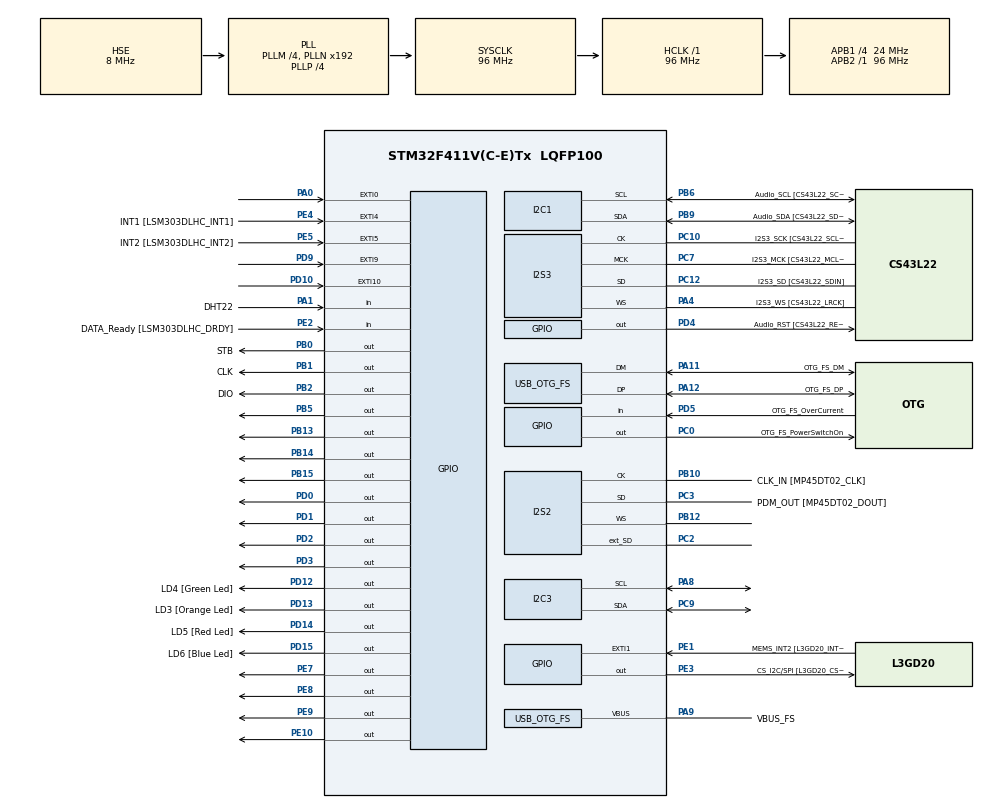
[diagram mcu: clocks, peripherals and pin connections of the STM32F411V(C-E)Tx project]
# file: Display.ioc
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I2S2.AudioFreq=I2S_AUDIOFREQ_96K
I2S2.ErrorAudioFreq=0.15 %
I2S2.FullDuplexMode=I2S_FULLDUPLEXMODE_ENABLE
I2S2.Instance=SPI$Index
I2S2.RealAudioFreq=96.153 KHz
I2S2.VirtualMode=I2S_MODE_MASTER
I2S3.AudioFreq=I2S_AUDIOFREQ_96K
I2S3.ErrorAudioFreq=-6.99 %
I2S3.FullDuplexMode=I2S_FULLDUPLEXMODE_DISABLE
I2S3.Instance=SPI$Index
I2S3.RealAudioFreq=89.285 KHz
I2S3.VirtualMode=I2S_MODE_MASTER
Mcu.Family=STM32F4
Mcu.Name=STM32F411V(C-E)Tx
Mcu.Package=LQFP100
NVIC.EXTI15_10_IRQn=true\:0\:0\:false\:false\:true\:true\:true\:true
NVIC.EXTI9_5_IRQn=true\:0\:0\:false\:false\:true\:true\:true\:true
NVIC.OTG_FS_IRQn=true\:0\:0\:false\:false\:true\:true\:true\:true
NVIC.PriorityGroup=NVIC_PRIORITYGROUP_0
NVIC.TIM1_UP_TIM10_IRQn=true\:0\:0\:false\:false\:true\:true\:true\:true
NVIC.TIM2_IRQn=true\:0\:0\:false\:false\:true\:true\:true\:true
PA0-WKUP.GPIO_ModeDefaultEXTI=GPIO_MODE_EVT_RISING
PA0-WKUP.Signal=GPXTI0
PA1.GPIO_Label=DHT22
PA1.Signal=GPIO_Input
PA10.GPIO_Label=OTG_FS_ID
PA10.Signal=USB_OTG_FS_ID
PA11.GPIO_Label=OTG_FS_DM
PA11.Mode=Host_Only
PA11.Signal=USB_OTG_FS_DM
PA12.GPIO_Label=OTG_FS_DP
PA12.Mode=Host_Only
PA12.Signal=USB_OTG_FS_DP
PA13.GPIO_Label=SWDIO
PA13.Mode=Serial_Wire
PA13.Signal=SYS_JTMS-SWDIO
PA14.GPIO_Label=SWCLK
PA14.Mode=Serial_Wire
PA14.Signal=SYS_JTCK-SWCLK
PA4.GPIO_Label=I2S3_WS [CS43L22_LRCK]
PA4.GPIO_Mode=GPIO_MODE_AF_PP
PA4.GPIO_PuPd=GPIO_NOPULL
PA4.GPIO_Speed=GPIO_SPEED_FREQ_LOW
PA4.Mode=Half_Duplex_Master
PA4.Signal=I2S3_WS
PA5.GPIO_Label=SPI1_SCK [L3GD20_SC/SPC]
PA5.Signal=SPI1_SCK
PA6.GPIO_Label=SPI1_MISO [L3GD20_AS0/SDO]
PA6.Signal=SPI1_MISO
PA7.GPIO_Label=SPI1_MOSI [L3GD20_SDA/SDI/SDO]
PA7.Signal=SPI1_MOSI
PA8.Mode=I2C
PA8.Signal=I2C3_SCL
PA9.GPIO_Label=VBUS_FS
PA9.Mode=Activate_VBUS
PA9.Signal=USB_OTG_FS_VBUS
PB0.GPIO_Label=STB
PB0.Signal=GPIO_Output
PB1.GPIO_Label=CLK
PB1.Signal=GPIO_Output
PB10.GPIO_Label=CLK_IN [MP45DT02_CLK]
PB10.Mode=Full_Duplex_Master
PB10.Signal=I2S2_CK
PB12.Mode=Full_Duplex_Master
PB12.Signal=I2S2_WS
PB13.Signal=GPIO_Output
PB14.Signal=GPIO_Output
PB15.Signal=GPIO_Output
PB2.GPIO_Label=DIO
PB2.Signal=GPIO_Output
PB3.GPIO_Label=SWO
PB3.Signal=SYS_JTDO-SWO
PB5.Signal=GPIO_Output
PB6.GPIO_Label=Audio_SCL [CS43L22_SCL]
PB6.GPIO_Mode=GPIO_MODE_AF_OD
PB6.GPIO_Pu=GPIO_PULLUP
PB6.GPIO_PuPd=GPIO_NOPULL
PB6.GPIO_Speed=GPIO_SPEED_FREQ_LOW
PB6.Mode=I2C
PB6.Signal=I2C1_SCL
PB9.GPIO_Label=Audio_SDA [CS43L22_SDA]
PB9.GPIO_Mode=GPIO_MODE_AF_OD
PB9.GPIO_Pu=GPIO_PULLUP
PB9.GPIO_PuPd=GPIO_NOPULL
PB9.GPIO_Speed=GPIO_SPEED_FREQ_LOW
PB9.Mode=I2C
PB9.Signal=I2C1_SDA
PC0.GPIO_Label=OTG_FS_PowerSwitchOn
PC0.PinState=GPIO_PIN_SET
PC0.Signal=GPIO_Output
PC10.GPIO_Label=I2S3_SCK [CS43L22_SCLK]
PC10.GPIO_Mode=GPIO_MODE_AF_PP
PC10.GPIO_PuPd=GPIO_NOPULL
PC10.GPIO_Speed=GPIO_SPEED_FREQ_LOW
PC10.Mode=Half_Duplex_Master
PC10.Signal=I2S3_CK
PC12.GPIO_Label=I2S3_SD [CS43L22_SDIN]
PC12.GPIO_Mode=GPIO_MODE_AF_PP
PC12.GPIO_PuPd=GPIO_NOPULL
PC12.GPIO_Speed=GPIO_SPEED_FREQ_LOW
PC12.Mode=Half_Duplex_Master
PC12.Signal=I2S3_SD
PC14-OSC32_IN.GPIO_Label=PC14-OSC32_IN
PC14-OSC32_IN.Mode=LSE-External-Oscillator
PC14-OSC32_IN.Signal=RCC_OSC32_IN
PC15-OSC32_OUT.GPIO_Label=PC15-OSC32_OUT
PC15-OSC32_OUT.Mode=LSE-External-Oscillator
PC15-OSC32_OUT.Signal=RCC_OSC32_OUT
PC2.Mode=Full_Duplex_Master
PC2.Signal=I2S2_ext_SD
PC3.GPIO_Label=PDM_OUT [MP45DT02_DOUT]
PC3.Mode=Full_Duplex_Master
PC3.Signal=I2S2_SD
PC7.GPIO_Label=I2S3_MCK [CS43L22_MCLK]
PC7.GPIO_Mode=GPIO_MODE_AF_PP
PC7.GPIO_PuPd=GPIO_NOPULL
PC7.GPIO_Speed=GPIO_SPEED_FREQ_LOW
PC7.Mode=Master_Clock_Activated
PC7.Signal=I2S3_MCK
PC9.Mode=I2C
PC9.Signal=I2C3_SDA
PD0.Signal=GPIO_Output
PD1.Signal=GPIO_Output
PD10.Signal=GPXTI10
PD12.GPIO_Label=LD4 [Green Led]
PD12.GPIO_PuPd=GPIO_NOPULL
PD12.GPIO_Speed=GPIO_SPEED_FREQ_LOW
PD12.Signal=GPIO_Output
PD13.GPIO_Label=LD3 [Orange Led]
PD13.GPIO_PuPd=GPIO_NOPULL
PD13.GPIO_Speed=GPIO_SPEED_FREQ_LOW
PD13.Signal=GPIO_Output
PD14.GPIO_Label=LD5 [Red Led]
PD14.GPIO_PuPd=GPIO_NOPULL
PD14.GPIO_Speed=GPIO_SPEED_FREQ_LOW
PD14.Signal=GPIO_Output
PD15.GPIO_Label=LD6 [Blue Led]
PD15.GPIO_PuPd=GPIO_NOPULL
PD15.GPIO_Speed=GPIO_SPEED_FREQ_LOW
PD15.Signal=GPIO_Output
PD2.Signal=GPIO_Output
PD3.Signal=GPIO_Output
PD4.GPIO_Label=Audio_RST [CS43L22_RESET]
PD4.Signal=GPIO_Output
PD5.GPIO_Label=OTG_FS_OverCurrent
PD5.Signal=GPIO_Input
PD9.GPIO_ModeDefaultEXTI=GPIO_MODE_IT_FALLING
PD9.Signal=GPXTI9
PE1.GPIO_Label=MEMS_INT2 [L3GD20_INT2]
PE1.GPIO_ModeDefaultEXTI=GPIO_MODE_EVT_RISING
PE1.Signal=GPXTI1
PE10.Signal=GPIO_Output
PE2.GPIO_Label=DATA_Ready [LSM303DLHC_DRDY]
PE2.Signal=GPIO_Input
PE3.GPIO_Label=CS_I2C/SPI [L3GD20_CS_I2C/SPI]
PE3.Signal=GPIO_Output
PE4.GPIO_Label=INT1 [LSM303DLHC_INT1]
PE4.GPIO_ModeDefaultEXTI=GPIO_MODE_EVT_RISING
PE4.Signal=GPXTI4
PE5.GPIO_Label=INT2 [LSM303DLHC_INT2]
PE5.GPIO_ModeDefaultEXTI=GPIO_MODE_EVT_RISING
PE5.Signal=GPXTI5
PE7.Signal=GPIO_Output
PE8.Signal=GPIO_Output
PE9.Signal=GPIO_Output
PH0\ -\ OSC_IN.GPIO_Label=PH0-OSC_IN
PH0\ -\ OSC_IN.Mode=HSE-External-Oscillator
PH0\ -\ OSC_IN.Signal=RCC_OSC_IN
PH1\ -\ OSC_OUT.GPIO_Label=PH1-OSC_OUT
PH1\ -\ OSC_OUT.Mode=HSE-External-Oscillator
PH1\ -\ OSC_OUT.Signal=RCC_OSC_OUT
ProjectManager.HeapSize=0x200
ProjectManager.StackSize=0x400
ProjectManager.TargetToolchain=STM32CubeIDE
RCC.48MHZClocksFreq_Value=48000000
RCC.AHBFreq_Value=96000000
RCC.APB1CLKDivider=RCC_HCLK_DIV4
RCC.APB1Freq_Value=24000000
RCC.APB1TimFreq_Value=48000000
RCC.APB2Freq_Value=96000000
RCC.APB2TimFreq_Value=96000000
RCC.CortexFreq_Value=96000000
RCC.HCLKFreq_Value=96000000
RCC.HSE_VALUE=8000000
RCC.HSI_VALUE=16000000
RCC.PLLI2SM=5
RCC.PLLI2SN=200
RCC.PLLM=4
RCC.PLLP=RCC_PLLP_DIV4
RCC.PLLQ=8
RCC.SYSCLKFreq_VALUE=96000000
RCC.SYSCLKSource=RCC_SYSCLKSOURCE_PLLCLK
RCC.VCOOutputFreq_Value=384000000
TIM1.Prescaler=95
TIM10.Period=1200
TIM10.Prescaler=9599
TIM11.Period=0xffff-1
TIM11.Prescaler=95
TIM2.Period=250
TIM2.Prescaler=9599
TIM4.Period=100
TIM4.Prescaler=9599
USB_HOST.BSP.number=1
USB_HOST.USBH_HandleTypeDef=hUsbHostFS
USB_HOST.VirtualModeFS=Cdc
USB_HOST0.BSP.STBoard=false
USB_HOST0.BSP.api=Unknown
USB_HOST0.BSP.instance=PC0
USB_HOST0.BSP.ip=GPIO
USB_HOST0.BSP.mode=Output
USB_HOST0.BSP.name=Drive_VBUS_FS
USB_HOST0.BSP.solution=PC0
USB_OTG_FS.VirtualMode=Host_Only
USB_OTG_FS.phy_itface=HCD_PHY_EMBEDDED
VP_TIM10_VS_ClockSourceINT.Mode=Enable_Timer
VP_TIM11_VS_ClockSourceINT.Mode=Enable_Timer
VP_TIM1_VS_ClockSourceINT.Mode=Internal
VP_TIM2_VS_ClockSourceINT.Mode=Internal
VP_TIM4_VS_ClockSourceINT.Mode=Internal
VP_USB_HOST_VS_USB_HOST_CDC_FS.Mode=CDC_FS
board=STM32F411E-DISCO

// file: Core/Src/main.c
/* USER CODE BEGIN Header */
/**
  ******************************************************************************
  * @file           : main.c
  * @brief          : Main program body
  ******************************************************************************
  * @attention
  *
  * Copyright (c) 2023 STMicroelectronics.
  * All rights reserved.
  *
  * This software is licensed under terms that can be found in the LICENSE file
  * in the root directory of this software component.
  * If no LICENSE file comes with this software, it is provided AS-IS.
  *
  ******************************************************************************
  */
/* USER CODE END Header */
#include "main.h"
#include "usb_host.h"

/* USER CODE BEGIN Includes */
#include "stdbool.h"
/* USER CODE END Includes */

I2C_HandleTypeDef hi2c1;
I2C_HandleTypeDef hi2c3;

I2S_HandleTypeDef hi2s2;
I2S_HandleTypeDef hi2s3;

TIM_HandleTypeDef htim1;
TIM_HandleTypeDef htim2;
TIM_HandleTypeDef htim4;
TIM_HandleTypeDef htim10;
TIM_HandleTypeDef htim11;

void SystemClock_Config(void);
void PeriphCommonClock_Config(void);
static void MX_GPIO_Init(void);
static void MX_I2C1_Init(void);
static void MX_I2S2_Init(void);
static void MX_I2S3_Init(void);
static void MX_I2C3_Init(void);
static void MX_TIM10_Init(void);
static void MX_TIM1_Init(void);
static void MX_TIM2_Init(void);
static void MX_TIM11_Init(void);
static void MX_TIM4_Init(void);
void MX_USB_HOST_Process(void);

/* USER CODE BEGIN PFP */

uint16_t pins_lamps[] = {GPIO_PIN_0, GPIO_PIN_1, GPIO_PIN_2, GPIO_PIN_3}; //LAMP HOUR 2-nd, LAMP HOUR 1-st, LAMP MINUTE 2-nd, LAMP MINUTE 1-st
uint16_t pins_controls[] = {GPIO_PIN_7, GPIO_PIN_8, GPIO_PIN_9, GPIO_PIN_10}; //CONTROL for K155id {A, B, C, D}
int controls[4][4];  //bin code for lamps and its control
bool state_ex = true;

//STATE FOR setting and working of lamp
typedef enum state_time {
 SETTING,
 WORKING,
} state_t;
volatile state_t state = WORKING;

//variable for setting clock
int MINUTE = 0;
int HOUR = 0;

/* USER CODE END PFP */

/* USER CODE BEGIN 0 */
//LCD5110_display lcd1; //Define LCD_DISPLAY

//convert decimal to bin to control lamp
void decimal_to_binary(int number, int *binary_value)
{
	int temp = number;
	for(int i = 0; i < 4; i++)
	{
		binary_value[i] = temp % 2;
		temp = temp / 2;
	}
}
//***********************DS3231-RTC MODULE***********************
#define DS3231_ADDRESS 0xD0 //define DS3231

// Convert normal decimal numbers to binary coded decimal
uint8_t decToBcd(int val)
{
  return (uint8_t)( (val/10*16) + (val%10) );
}

// Convert binary coded decimal to normal decimal numbers
int bcdToDec(uint8_t val)
{
  return (int)( (val/16*10) + (val%16) );
}

//structure for time
typedef struct {
	uint8_t seconds;
	uint8_t minutes;
	uint8_t hour;
	uint8_t dayofweek;
	uint8_t dayofmonth;
	uint8_t month;
	uint8_t year;

}	TIME;
TIME time;

void Set_Time (uint8_t sec, uint8_t min, uint8_t hour, uint8_t dow, uint8_t dom, uint8_t month, uint8_t year)
{
	uint8_t set_time[7];
	set_time[0] = decToBcd(sec);
	set_time[1] = decToBcd(min);
	set_time[2] = decToBcd(hour);
	set_time[3] = decToBcd(dow);
	set_time[4] = decToBcd(dom);
	set_time[5] = decToBcd(month);
	set_time[6] = decToBcd(year);

	HAL_I2C_Mem_Write(&hi2c3, DS3231_ADDRESS, 0x00, 1, set_time, 7, 1000);
}

void Get_Time (void)
{
	uint8_t get_time[7];
	HAL_I2C_Mem_Read(&hi2c3, DS3231_ADDRESS, 0x00, 1, get_time, 7, 1000);
	time.seconds = bcdToDec(get_time[0]);
	time.minutes = bcdToDec(get_time[1]);
	time.hour = bcdToDec(get_time[2]);
	time.dayofweek = bcdToDec(get_time[3]);
	time.dayofmonth = bcdToDec(get_time[4]);
	time.month = bcdToDec(get_time[5]);
	time.year = bcdToDec(get_time[6]);
}
//*************************************************************************

//***************** Display TM_1638 ***********************//

GPIO_TypeDef* port = GPIOB;
int CLK_PIN = GPIO_PIN_1;
int DIO_PIN = GPIO_PIN_2;
int STB_PIN = GPIO_PIN_0;

const uint8_t SegmCodes[18] =
{
  0x3F, // 0
  0x06, // 1
  0x5B, // 2
  0x4F, // 3
  0x66, // 4
  0x6D, // 5
  0x7D, // 6
  0x07, // 7
  0x7F, // 8
  0x6F, // 9
  0x77, // A
  0x7c, // b
  0x39, // C
  0x5E, // d
  0x79, // E
  0x71,  // F
  //!!!! not hex
  0x38,// L - 10
  0x76 // H - 11
};

void shift_out(GPIO_TypeDef* port, int CLK_PIN,
    int DIO_PIN, bool dir, uint8_t command){
    for (int i = 0; i < 8; i++)
    {
        bool output = false;
        if (dir)
        {
            output = command & 0b10000000;
            command = command << 1;
        }
        else
        {
            output = command & 0b00000001;
            command = command >> 1;
        }
        HAL_GPIO_WritePin(port, DIO_PIN, output);
        HAL_GPIO_WritePin(port, CLK_PIN, 1);
        HAL_GPIO_WritePin(port, CLK_PIN, 0);
    }
  }

  void send_command(uint8_t bt){
    HAL_GPIO_WritePin(port, STB_PIN, 0);
    shift_out(port, CLK_PIN,  DIO_PIN, false, bt);
    HAL_GPIO_WritePin(port, STB_PIN, 1);
  }

  void send_args(uint8_t bt){
    shift_out(port, CLK_PIN,  DIO_PIN, false, bt);
  }

  void reset_TM(){
    send_command(0x40);
    HAL_GPIO_WritePin(port, STB_PIN, 0);
    send_args(0xc0);
    for (uint8_t i = 0; i < 16; i++){
         send_args(0x00);
       }
    HAL_GPIO_WritePin(port, STB_PIN, 1);
  }

  void print_zero(){
	  send_command(0x40);
	  HAL_GPIO_WritePin(port, STB_PIN, 0);
	  for(int i = 0; i < 8; i++)
	  {
		  send_args(SegmCodes[0]);
	  }
	  HAL_GPIO_WritePin(port, STB_PIN, 1);
  }

  void print_ones(){
	  send_command(0x40);
	  HAL_GPIO_WritePin(port, STB_PIN, 0);
	  for(int i = 0; i < 8; i++)
	  {
		  send_args(SegmCodes[1]);
	  }
	  HAL_GPIO_WritePin(port, STB_PIN, 1);
  }

  void print_temp(int temp){
      send_command(0x40);
      HAL_GPIO_WritePin(port, STB_Pin, 0);
      send_args(0xc0);
      send_args(SegmCodes[temp/10]);
      send_args(0x00);
      send_args(SegmCodes[temp%10]);
      send_args(0x00);
      send_args(99);
      send_args(0x00);
      send_args(SegmCodes[0x0C]);
      HAL_GPIO_WritePin(port, STB_Pin, 1);
    }

  void print_hum(int hum){
	  	send_command(0x40);
		HAL_GPIO_WritePin(port, STB_Pin, 0);
		send_args(0xca);
		send_args(SegmCodes[hum/10]);
		send_args(0x00);
		send_args(SegmCodes[hum%10]);
		send_args(0x00);
		send_args(SegmCodes[0x11]);
		HAL_GPIO_WritePin(port, STB_Pin, 1);
      }
  /*********************************** DHT22 FUNCTIONS ****************************************/

  #define DHT22_PORT GPIOA
  #define DHT22_PIN GPIO_PIN_1

  uint8_t Rh_byte1, Rh_byte2, Temp_byte1, Temp_byte2;
  uint16_t SUM, RH, TEMP;

  float Temperature = 0;
  float Humidity = 0;
  uint8_t Presence = 0;
  int check_temp = 0;

  void delay (uint16_t time)
  {
  	/* change your code here for the delay in microseconds */
  	__HAL_TIM_SET_COUNTER(&htim11, 0);
  	while ((__HAL_TIM_GET_COUNTER(&htim11))<time);
  }

  void Set_Pin_Output (GPIO_TypeDef *GPIOx, uint16_t GPIO_Pin)
  {
  	GPIO_InitTypeDef GPIO_InitStruct = {0};
  	GPIO_InitStruct.Pin = GPIO_Pin;
  	GPIO_InitStruct.Mode = GPIO_MODE_OUTPUT_PP;
  	GPIO_InitStruct.Speed = GPIO_SPEED_FREQ_LOW;
  	HAL_GPIO_Init(GPIOx, &GPIO_InitStruct);
  }

  void Set_Pin_Input (GPIO_TypeDef *GPIOx, uint16_t GPIO_Pin)
  {
  	GPIO_InitTypeDef GPIO_InitStruct = {0};
  	GPIO_InitStruct.Pin = GPIO_Pin;
  	GPIO_InitStruct.Mode = GPIO_MODE_INPUT;
  	GPIO_InitStruct.Pull = GPIO_PULLUP;
  	HAL_GPIO_Init(GPIOx, &GPIO_InitStruct);
  }

  void DHT22_Start (void)
  {
  	Set_Pin_Output(DHT22_PORT, DHT22_PIN); // set the pin as output
  	HAL_GPIO_WritePin (DHT22_PORT, DHT22_PIN, 0);   // pull the pin low
  	delay(1200);   // wait for > 1ms

  	HAL_GPIO_WritePin (DHT22_PORT, DHT22_PIN, 1);   // pull the pin high
  	delay (20);   // wait for 30us

  	Set_Pin_Input(DHT22_PORT, DHT22_PIN);   // set as input
  }

  uint8_t DHT22_Check_Response (void)
  {
  	Set_Pin_Input(DHT22_PORT, DHT22_PIN);   // set as input
  	uint8_t Response = 0;
  	delay (40);  // wait for 40us
  	if (!(HAL_GPIO_ReadPin (DHT22_PORT, DHT22_PIN))) // if the pin is low
  	{
  		delay (80);   // wait for 80us

  		if ((HAL_GPIO_ReadPin (DHT22_PORT, DHT22_PIN))) Response = 1;  // if the pin is high, response is ok
  		else Response = -1;
  	}

  	while ((HAL_GPIO_ReadPin (DHT22_PORT, DHT22_PIN))){
  	HAL_GPIO_TogglePin(GPIOD, GPIO_PIN_12);
  	}// wait for the pin to go low
  	return Response;
  }

  uint8_t DHT22_Read (void)
  {
  	uint8_t i,j;
  	for (j=0;j<8;j++)
  	{
  		while (!(HAL_GPIO_ReadPin (DHT22_PORT, DHT22_PIN)));
  		// wait for the pin to go high
  		delay (40);   // wait for 40 us

  		if (!(HAL_GPIO_ReadPin (DHT22_PORT, DHT22_PIN)))   // if the pin is low
  		{
  			i&= ~(1<<(7-j));   // write 0
  		}
  		else i|= (1<<(7-j));  // if the pin is high, write 1
  		delay (40);
//  		while ((HAL_GPIO_ReadPin (DHT22_PORT, DHT22_PIN))){
//  			HAL_GPIO_TogglePin(GPIOD, GPIO_PIN_13);// wait for the pin to go low
//  		}
  	}

  	return i;
  }

  void TH_read_write(){
  	  DHT22_Start();
  	  Presence = DHT22_Check_Response();
  	  Rh_byte1 = DHT22_Read ();
      Rh_byte2 = DHT22_Read ();
  	  Temp_byte1 = DHT22_Read ();
  	  Temp_byte2 = DHT22_Read ();
  	  SUM = DHT22_Read();

  	  TEMP = ((Temp_byte1<<8)|Temp_byte2);
  	  RH = ((Rh_byte1<<8)|Rh_byte2);

  	  Temperature = (float) (TEMP/10.0);
  	  Humidity = (float) (RH/10.0);
  }

/* USER CODE END 0 */

int main(void)
{

  /* MCU Configuration--------------------------------------------------------*/

  /* Reset of all peripherals, Initializes the Flash interface and the Systick. */
  HAL_Init();

  /* Configure the system clock */
  SystemClock_Config();

/* Configure the peripherals common clocks */
  PeriphCommonClock_Config();

  /* Initialize all configured peripherals */
  MX_GPIO_Init();
  MX_I2C1_Init();
  MX_I2S2_Init();
  MX_I2S3_Init();
  MX_USB_HOST_Init();
  MX_I2C3_Init();
  MX_TIM10_Init();
  MX_TIM1_Init();
  MX_TIM2_Init();
  MX_TIM11_Init();
  MX_TIM4_Init();
  /* USER CODE BEGIN 2 */

  //START DISPLAY TM1638

  HAL_TIM_Base_Start(&htim11);

  reset_TM();

//  Set_Time(10, 11, 17, 4, 21, 12, 23);
  /* USER CODE END 2 */

  /* Infinite loop */
  /* USER CODE BEGIN WHILE */
  HAL_Delay(1000);
  HAL_TIM_Base_Start_IT(&htim2);
  while (1)
  {

	if (check_temp % 500 == 0){
	HAL_Delay(1);
	TH_read_write();
	}
	  if (state == WORKING)
	  {
		  Get_Time();
		  int time_units[] = {time.hour / 10, time.hour % 10, time.minutes / 10, time.minutes % 10}; //take time from rtc module
		  for (int i = 0; i < 4; i++)
		  {
			  decimal_to_binary(time_units[i], controls[i]);
			  for(int j = 0; j < 4; j++)
			  {
				  HAL_GPIO_WritePin(GPIOE, pins_controls[j], controls[i][j]);
			  }
//			  delay(500);
			  HAL_GPIO_WritePin(GPIOD, pins_lamps[i], 1);
			  delay(4200);
			  HAL_GPIO_WritePin(GPIOD, pins_lamps[i], 0);
			  delay(600);
		  }

	  }
	  else
	  {
		  int time_units[] = {HOUR / 10, HOUR % 10, MINUTE / 10, MINUTE % 10}; //take time from setting
		  for (int i = 0; i < 4; i++)
		  	  {
			  decimal_to_binary(time_units[i], controls[i]);
			  for(int j = 0; j < 4; j++)
			  	  {
				  HAL_GPIO_WritePin(GPIOE, pins_controls[j], controls[i][j]);
			  	  }
//			  delay(50);
			  HAL_GPIO_WritePin(GPIOD, pins_lamps[i], 1);
			  delay(5000);
			  HAL_GPIO_WritePin(GPIOD, pins_lamps[i], 0);
			  delay(600);
		  	  }
	  }
	  check_temp++;
	  check_temp = check_temp % 500;
    /* USER CODE END WHILE */
    MX_USB_HOST_Process();

  }
}

void SystemClock_Config(void)
{
  RCC_OscInitTypeDef RCC_OscInitStruct = {0};
  RCC_ClkInitTypeDef RCC_ClkInitStruct = {0};

  /** Configure the main internal regulator output voltage
  */
  __HAL_RCC_PWR_CLK_ENABLE();
  __HAL_PWR_VOLTAGESCALING_CONFIG(PWR_REGULATOR_VOLTAGE_SCALE1);

  /** Initializes the RCC Oscillators according to the specified parameters
  * in the RCC_OscInitTypeDef structure.
  */
  RCC_OscInitStruct.OscillatorType = RCC_OSCILLATORTYPE_HSE;
  RCC_OscInitStruct.HSEState = RCC_HSE_ON;
  RCC_OscInitStruct.PLL.PLLState = RCC_PLL_ON;
  RCC_OscInitStruct.PLL.PLLSource = RCC_PLLSOURCE_HSE;
  RCC_OscInitStruct.PLL.PLLM = 4;
  RCC_OscInitStruct.PLL.PLLN = 192;
  RCC_OscInitStruct.PLL.PLLP = RCC_PLLP_DIV4;
  RCC_OscInitStruct.PLL.PLLQ = 8;
  if (HAL_RCC_OscConfig(&RCC_OscInitStruct) != HAL_OK)
  {
    Error_Handler();
  }

  /** Initializes the CPU, AHB and APB buses clocks
  */
  RCC_ClkInitStruct.ClockType = RCC_CLOCKTYPE_HCLK|RCC_CLOCKTYPE_SYSCLK
                              |RCC_CLOCKTYPE_PCLK1|RCC_CLOCKTYPE_PCLK2;
  RCC_ClkInitStruct.SYSCLKSource = RCC_SYSCLKSOURCE_PLLCLK;
  RCC_ClkInitStruct.AHBCLKDivider = RCC_SYSCLK_DIV1;
  RCC_ClkInitStruct.APB1CLKDivider = RCC_HCLK_DIV4;
  RCC_ClkInitStruct.APB2CLKDivider = RCC_HCLK_DIV1;

  if (HAL_RCC_ClockConfig(&RCC_ClkInitStruct, FLASH_LATENCY_3) != HAL_OK)
  {
    Error_Handler();
  }
}

void PeriphCommonClock_Config(void)
{
  RCC_PeriphCLKInitTypeDef PeriphClkInitStruct = {0};

  /** Initializes the peripherals clock
  */
  PeriphClkInitStruct.PeriphClockSelection = RCC_PERIPHCLK_I2S;
  PeriphClkInitStruct.PLLI2S.PLLI2SN = 200;
  PeriphClkInitStruct.PLLI2S.PLLI2SM = 5;
  PeriphClkInitStruct.PLLI2S.PLLI2SR = 2;
  if (HAL_RCCEx_PeriphCLKConfig(&PeriphClkInitStruct) != HAL_OK)
  {
    Error_Handler();
  }
}

static void MX_I2C1_Init(void)
{

  hi2c1.Instance = I2C1;
  hi2c1.Init.ClockSpeed = 100000;
  hi2c1.Init.DutyCycle = I2C_DUTYCYCLE_2;
  hi2c1.Init.OwnAddress1 = 0;
  hi2c1.Init.AddressingMode = I2C_ADDRESSINGMODE_7BIT;
  hi2c1.Init.DualAddressMode = I2C_DUALADDRESS_DISABLE;
  hi2c1.Init.OwnAddress2 = 0;
  hi2c1.Init.GeneralCallMode = I2C_GENERALCALL_DISABLE;
  hi2c1.Init.NoStretchMode = I2C_NOSTRETCH_DISABLE;
  if (HAL_I2C_Init(&hi2c1) != HAL_OK)
  {
    Error_Handler();
  }

}

static void MX_I2C3_Init(void)
{

  hi2c3.Instance = I2C3;
  hi2c3.Init.ClockSpeed = 100000;
  hi2c3.Init.DutyCycle = I2C_DUTYCYCLE_2;
  hi2c3.Init.OwnAddress1 = 0;
  hi2c3.Init.AddressingMode = I2C_ADDRESSINGMODE_7BIT;
  hi2c3.Init.DualAddressMode = I2C_DUALADDRESS_DISABLE;
  hi2c3.Init.OwnAddress2 = 0;
  hi2c3.Init.GeneralCallMode = I2C_GENERALCALL_DISABLE;
  hi2c3.Init.NoStretchMode = I2C_NOSTRETCH_DISABLE;
  if (HAL_I2C_Init(&hi2c3) != HAL_OK)
  {
    Error_Handler();
  }

}

static void MX_I2S2_Init(void)
{

  hi2s2.Instance = SPI2;
  hi2s2.Init.Mode = I2S_MODE_MASTER_TX;
  hi2s2.Init.Standard = I2S_STANDARD_PHILIPS;
  hi2s2.Init.DataFormat = I2S_DATAFORMAT_16B;
  hi2s2.Init.MCLKOutput = I2S_MCLKOUTPUT_DISABLE;
  hi2s2.Init.AudioFreq = I2S_AUDIOFREQ_96K;
  hi2s2.Init.CPOL = I2S_CPOL_LOW;
  hi2s2.Init.ClockSource = I2S_CLOCK_PLL;
  hi2s2.Init.FullDuplexMode = I2S_FULLDUPLEXMODE_ENABLE;
  if (HAL_I2S_Init(&hi2s2) != HAL_OK)
  {
    Error_Handler();
  }

}

static void MX_I2S3_Init(void)
{

  hi2s3.Instance = SPI3;
  hi2s3.Init.Mode = I2S_MODE_MASTER_TX;
  hi2s3.Init.Standard = I2S_STANDARD_PHILIPS;
  hi2s3.Init.DataFormat = I2S_DATAFORMAT_16B;
  hi2s3.Init.MCLKOutput = I2S_MCLKOUTPUT_ENABLE;
  hi2s3.Init.AudioFreq = I2S_AUDIOFREQ_96K;
  hi2s3.Init.CPOL = I2S_CPOL_LOW;
  hi2s3.Init.ClockSource = I2S_CLOCK_PLL;
  hi2s3.Init.FullDuplexMode = I2S_FULLDUPLEXMODE_DISABLE;
  if (HAL_I2S_Init(&hi2s3) != HAL_OK)
  {
    Error_Handler();
  }

}

static void MX_TIM1_Init(void)
{

  TIM_ClockConfigTypeDef sClockSourceConfig = {0};
  TIM_MasterConfigTypeDef sMasterConfig = {0};

  htim1.Instance = TIM1;
  htim1.Init.Prescaler = 95;
  htim1.Init.CounterMode = TIM_COUNTERMODE_UP;
  htim1.Init.Period = 65535;
  htim1.Init.ClockDivision = TIM_CLOCKDIVISION_DIV1;
  htim1.Init.RepetitionCounter = 0;
  htim1.Init.AutoReloadPreload = TIM_AUTORELOAD_PRELOAD_DISABLE;
  if (HAL_TIM_Base_Init(&htim1) != HAL_OK)
  {
    Error_Handler();
  }
  sClockSourceConfig.ClockSource = TIM_CLOCKSOURCE_INTERNAL;
  if (HAL_TIM_ConfigClockSource(&htim1, &sClockSourceConfig) != HAL_OK)
  {
    Error_Handler();
  }
  sMasterConfig.MasterOutputTrigger = TIM_TRGO_RESET;
  sMasterConfig.MasterSlaveMode = TIM_MASTERSLAVEMODE_DISABLE;
  if (HAL_TIMEx_MasterConfigSynchronization(&htim1, &sMasterConfig) != HAL_OK)
  {
    Error_Handler();
  }

}

static void MX_TIM2_Init(void)
{

  TIM_ClockConfigTypeDef sClockSourceConfig = {0};
  TIM_MasterConfigTypeDef sMasterConfig = {0};

  htim2.Instance = TIM2;
  htim2.Init.Prescaler = 9599;
  htim2.Init.CounterMode = TIM_COUNTERMODE_UP;
  htim2.Init.Period = 250;
  htim2.Init.ClockDivision = TIM_CLOCKDIVISION_DIV1;
  htim2.Init.AutoReloadPreload = TIM_AUTORELOAD_PRELOAD_DISABLE;
  if (HAL_TIM_Base_Init(&htim2) != HAL_OK)
  {
    Error_Handler();
  }
  sClockSourceConfig.ClockSource = TIM_CLOCKSOURCE_INTERNAL;
  if (HAL_TIM_ConfigClockSource(&htim2, &sClockSourceConfig) != HAL_OK)
  {
    Error_Handler();
  }
  sMasterConfig.MasterOutputTrigger = TIM_TRGO_RESET;
  sMasterConfig.MasterSlaveMode = TIM_MASTERSLAVEMODE_DISABLE;
  if (HAL_TIMEx_MasterConfigSynchronization(&htim2, &sMasterConfig) != HAL_OK)
  {
    Error_Handler();
  }

}

static void MX_TIM4_Init(void)
{

  TIM_ClockConfigTypeDef sClockSourceConfig = {0};
  TIM_MasterConfigTypeDef sMasterConfig = {0};

  htim4.Instance = TIM4;
  htim4.Init.Prescaler = 9599;
  htim4.Init.CounterMode = TIM_COUNTERMODE_UP;
  htim4.Init.Period = 100;
  htim4.Init.ClockDivision = TIM_CLOCKDIVISION_DIV1;
  htim4.Init.AutoReloadPreload = TIM_AUTORELOAD_PRELOAD_DISABLE;
  if (HAL_TIM_Base_Init(&htim4) != HAL_OK)
  {
    Error_Handler();
  }
  sClockSourceConfig.ClockSource = TIM_CLOCKSOURCE_INTERNAL;
  if (HAL_TIM_ConfigClockSource(&htim4, &sClockSourceConfig) != HAL_OK)
  {
    Error_Handler();
  }
  sMasterConfig.MasterOutputTrigger = TIM_TRGO_RESET;
  sMasterConfig.MasterSlaveMode = TIM_MASTERSLAVEMODE_DISABLE;
  if (HAL_TIMEx_MasterConfigSynchronization(&htim4, &sMasterConfig) != HAL_OK)
  {
    Error_Handler();
  }

}

static void MX_TIM10_Init(void)
{

  htim10.Instance = TIM10;
  htim10.Init.Prescaler = 9599;
  htim10.Init.CounterMode = TIM_COUNTERMODE_UP;
  htim10.Init.Period = 1200;
  htim10.Init.ClockDivision = TIM_CLOCKDIVISION_DIV1;
  htim10.Init.AutoReloadPreload = TIM_AUTORELOAD_PRELOAD_DISABLE;
  if (HAL_TIM_Base_Init(&htim10) != HAL_OK)
  {
    Error_Handler();
  }

}

static void MX_TIM11_Init(void)
{

  htim11.Instance = TIM11;
  htim11.Init.Prescaler = 95;
  htim11.Init.CounterMode = TIM_COUNTERMODE_UP;
  htim11.Init.Period = 0xffff-1;
  htim11.Init.ClockDivision = TIM_CLOCKDIVISION_DIV1;
  htim11.Init.AutoReloadPreload = TIM_AUTORELOAD_PRELOAD_DISABLE;
  if (HAL_TIM_Base_Init(&htim11) != HAL_OK)
  {
    Error_Handler();
  }

}

static void MX_GPIO_Init(void)
{
  GPIO_InitTypeDef GPIO_InitStruct = {0};

  /* GPIO Ports Clock Enable */
  __HAL_RCC_GPIOE_CLK_ENABLE();
  __HAL_RCC_GPIOC_CLK_ENABLE();
  __HAL_RCC_GPIOH_CLK_ENABLE();
  __HAL_RCC_GPIOA_CLK_ENABLE();
  __HAL_RCC_GPIOB_CLK_ENABLE();
  __HAL_RCC_GPIOD_CLK_ENABLE();

  /*Configure GPIO pin Output Level */
  HAL_GPIO_WritePin(GPIOE, CS_I2C_SPI_Pin|GPIO_PIN_7|GPIO_PIN_8|GPIO_PIN_9
                          |GPIO_PIN_10, GPIO_PIN_RESET);

  /*Configure GPIO pin Output Level */
  HAL_GPIO_WritePin(OTG_FS_PowerSwitchOn_GPIO_Port, OTG_FS_PowerSwitchOn_Pin, GPIO_PIN_SET);

  /*Configure GPIO pin Output Level */
  HAL_GPIO_WritePin(GPIOB, STB_Pin|CLK_Pin|DIO_Pin|GPIO_PIN_13
                          |GPIO_PIN_14|GPIO_PIN_15|GPIO_PIN_5, GPIO_PIN_RESET);

  /*Configure GPIO pin Output Level */
  HAL_GPIO_WritePin(GPIOD, LD4_Pin|LD3_Pin|LD5_Pin|LD6_Pin
                          |GPIO_PIN_0|GPIO_PIN_1|GPIO_PIN_2|GPIO_PIN_3
                          |Audio_RST_Pin, GPIO_PIN_RESET);

  /*Configure GPIO pin : DATA_Ready_Pin */
  GPIO_InitStruct.Pin = DATA_Ready_Pin;
  GPIO_InitStruct.Mode = GPIO_MODE_INPUT;
  GPIO_InitStruct.Pull = GPIO_NOPULL;
  HAL_GPIO_Init(DATA_Ready_GPIO_Port, &GPIO_InitStruct);

  /*Configure GPIO pins : CS_I2C_SPI_Pin PE7 PE8 PE9
                           PE10 */
  GPIO_InitStruct.Pin = CS_I2C_SPI_Pin|GPIO_PIN_7|GPIO_PIN_8|GPIO_PIN_9
                          |GPIO_PIN_10;
  GPIO_InitStruct.Mode = GPIO_MODE_OUTPUT_PP;
  GPIO_InitStruct.Pull = GPIO_NOPULL;
  GPIO_InitStruct.Speed = GPIO_SPEED_FREQ_LOW;
  HAL_GPIO_Init(GPIOE, &GPIO_InitStruct);

  /*Configure GPIO pins : INT1_Pin INT2_Pin MEMS_INT2_Pin */
  GPIO_InitStruct.Pin = INT1_Pin|INT2_Pin|MEMS_INT2_Pin;
  GPIO_InitStruct.Mode = GPIO_MODE_EVT_RISING;
  GPIO_InitStruct.Pull = GPIO_NOPULL;
  HAL_GPIO_Init(GPIOE, &GPIO_InitStruct);

  /*Configure GPIO pin : OTG_FS_PowerSwitchOn_Pin */
  GPIO_InitStruct.Pin = OTG_FS_PowerSwitchOn_Pin;
  GPIO_InitStruct.Mode = GPIO_MODE_OUTPUT_PP;
  GPIO_InitStruct.Pull = GPIO_NOPULL;
  GPIO_InitStruct.Speed = GPIO_SPEED_FREQ_LOW;
  HAL_GPIO_Init(OTG_FS_PowerSwitchOn_GPIO_Port, &GPIO_InitStruct);

  /*Configure GPIO pin : PA0 */
  GPIO_InitStruct.Pin = GPIO_PIN_0;
  GPIO_InitStruct.Mode = GPIO_MODE_EVT_RISING;
  GPIO_InitStruct.Pull = GPIO_NOPULL;
  HAL_GPIO_Init(GPIOA, &GPIO_InitStruct);

  /*Configure GPIO pin : DHT22_Pin */
  GPIO_InitStruct.Pin = DHT22_Pin;
  GPIO_InitStruct.Mode = GPIO_MODE_INPUT;
  GPIO_InitStruct.Pull = GPIO_NOPULL;
  HAL_GPIO_Init(DHT22_GPIO_Port, &GPIO_InitStruct);

  /*Configure GPIO pins : SPI1_SCK_Pin SPI1_MISO_Pin SPI1_MOSI_Pin */
  GPIO_InitStruct.Pin = SPI1_SCK_Pin|SPI1_MISO_Pin|SPI1_MOSI_Pin;
  GPIO_InitStruct.Mode = GPIO_MODE_AF_PP;
  GPIO_InitStruct.Pull = GPIO_NOPULL;
  GPIO_InitStruct.Speed = GPIO_SPEED_FREQ_VERY_HIGH;
  GPIO_InitStruct.Alternate = GPIO_AF5_SPI1;
  HAL_GPIO_Init(GPIOA, &GPIO_InitStruct);

  /*Configure GPIO pins : STB_Pin CLK_Pin DIO_Pin PB13
                           PB14 PB15 PB5 */
  GPIO_InitStruct.Pin = STB_Pin|CLK_Pin|DIO_Pin|GPIO_PIN_13
                          |GPIO_PIN_14|GPIO_PIN_15|GPIO_PIN_5;
  GPIO_InitStruct.Mode = GPIO_MODE_OUTPUT_PP;
  GPIO_InitStruct.Pull = GPIO_NOPULL;
  GPIO_InitStruct.Speed = GPIO_SPEED_FREQ_LOW;
  HAL_GPIO_Init(GPIOB, &GPIO_InitStruct);

  /*Configure GPIO pin : PD9 */
  GPIO_InitStruct.Pin = GPIO_PIN_9;
  GPIO_InitStruct.Mode = GPIO_MODE_IT_FALLING;
  GPIO_InitStruct.Pull = GPIO_NOPULL;
  HAL_GPIO_Init(GPIOD, &GPIO_InitStruct);

  /*Configure GPIO pin : PD10 */
  GPIO_InitStruct.Pin = GPIO_PIN_10;
  GPIO_InitStruct.Mode = GPIO_MODE_IT_RISING;
  GPIO_InitStruct.Pull = GPIO_NOPULL;
  HAL_GPIO_Init(GPIOD, &GPIO_InitStruct);

  /*Configure GPIO pins : LD4_Pin LD3_Pin LD5_Pin LD6_Pin
                           PD0 PD1 PD2 PD3
                           Audio_RST_Pin */
  GPIO_InitStruct.Pin = LD4_Pin|LD3_Pin|LD5_Pin|LD6_Pin
                          |GPIO_PIN_0|GPIO_PIN_1|GPIO_PIN_2|GPIO_PIN_3
                          |Audio_RST_Pin;
  GPIO_InitStruct.Mode = GPIO_MODE_OUTPUT_PP;
  GPIO_InitStruct.Pull = GPIO_NOPULL;
  GPIO_InitStruct.Speed = GPIO_SPEED_FREQ_LOW;
  HAL_GPIO_Init(GPIOD, &GPIO_InitStruct);

  /*Configure GPIO pin : OTG_FS_OverCurrent_Pin */
  GPIO_InitStruct.Pin = OTG_FS_OverCurrent_Pin;
  GPIO_InitStruct.Mode = GPIO_MODE_INPUT;
  GPIO_InitStruct.Pull = GPIO_NOPULL;
  HAL_GPIO_Init(OTG_FS_OverCurrent_GPIO_Port, &GPIO_InitStruct);

  /* EXTI interrupt init*/
  HAL_NVIC_SetPriority(EXTI9_5_IRQn, 0, 0);
  HAL_NVIC_EnableIRQ(EXTI9_5_IRQn);

  HAL_NVIC_SetPriority(EXTI15_10_IRQn, 0, 0);
  HAL_NVIC_EnableIRQ(EXTI15_10_IRQn);

}

/* USER CODE BEGIN 4 */

//*****************SETTING*************//
void HAL_GPIO_EXTI_Callback(uint16_t GPIO_Pin)
{
	if((GPIO_Pin == GPIO_PIN_9) && state_ex == true){
		HAL_TIM_Base_Start_IT(&htim10);
		state_ex = false;
		MINUTE = time.minutes;
		HOUR = time.hour;
	}
}

void HAL_TIM_PeriodElapsedCallback(TIM_HandleTypeDef *htim)
{
	//PRINT Temp and Hum on TM1638
	if (htim == &htim2){
		send_command(0x8a);
		print_hum((int) Humidity);
		print_temp((int) Temperature);
		if (state == WORKING)
		{

			HAL_GPIO_WritePin(GPIOB, GPIO_PIN_5, 0);

		}
		else
		{

			HAL_GPIO_WritePin(GPIOB, GPIO_PIN_5, 1);
		}
	}
	//SET MINUTE AND HOUR
	if (htim == &htim10)
	{
		if(HAL_GPIO_ReadPin(GPIOD, GPIO_PIN_9) == GPIO_PIN_SET)
			{
			 if (state == WORKING){
			 MINUTE = time.minutes;
			 HOUR = time.hour;
			 state = SETTING;
			 }
			 else{
				 Set_Time(00, MINUTE, HOUR, time.dayofweek, time.dayofmonth, time.month, time.year);
				 state = WORKING;
				 state_ex = true;
				 HAL_TIM_Base_Stop_IT(&htim10);

			 }

			}
		else if(HAL_GPIO_ReadPin(GPIOD, GPIO_PIN_10) == GPIO_PIN_SET)
			 {
			 if (state == SETTING)
				 {
				 MINUTE++;
				 MINUTE = MINUTE % 60;
				 }
			 }
		else if(HAL_GPIO_ReadPin(GPIOD, GPIO_PIN_11) == GPIO_PIN_SET)
			{
			 if (state == SETTING)
				 {
				 HOUR++;
				 HOUR = HOUR % 24;
				 }
			}
	}

}

/* USER CODE END 4 */

void Error_Handler(void)
{
  __disable_irq();
  while (1)
  {
  }
}
